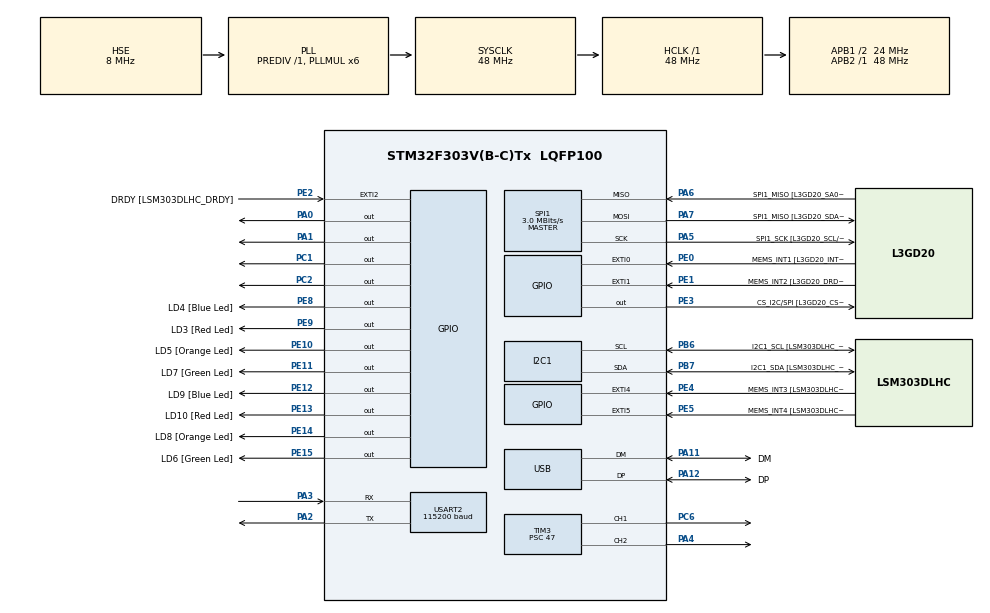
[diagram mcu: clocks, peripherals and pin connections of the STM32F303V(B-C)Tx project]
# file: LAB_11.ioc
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I2C1.Timing=0x00201D2B
I2C1.Timing-I2C=0x2000090E
Mcu.Family=STM32F3
Mcu.Name=STM32F303V(B-C)Tx
Mcu.Package=LQFP100
NVIC.PriorityGroup=NVIC_PRIORITYGROUP_0
NVIC.TIM2_IRQn=true\:0\:0\:false\:false\:true\:true\:true\:true
PA0.Signal=GPIO_Output
PA1.Signal=GPIO_Output
PA11.GPIO_Label=DM
PA11.Mode=Device
PA11.Signal=USB_DM
PA12.GPIO_Label=DP
PA12.Mode=Device
PA12.Signal=USB_DP
PA13.GPIO_Label=SWDIO
PA13.Mode=Serial_Wire
PA13.Signal=SYS_JTMS-SWDIO
PA14.GPIO_Label=SWCLK
PA14.Mode=Serial_Wire
PA14.Signal=SYS_JTCK-SWCLK
PA2.Mode=Asynchronous
PA2.Signal=USART2_TX
PA3.Mode=Asynchronous
PA3.Signal=USART2_RX
PA4.Signal=S_TIM3_CH2
PA5.GPIO_Label=SPI1_SCK [L3GD20_SCL/SPC]
PA5.Mode=Full_Duplex_Master
PA5.Signal=SPI1_SCK
PA6.GPIO_Label=SPI1_MISO [L3GD20_SA0/SDO]
PA6.Mode=Full_Duplex_Master
PA6.Signal=SPI1_MISO
PA7.GPIO_Label=SPI1_MISO [L3GD20_SDA/SDI/SDO]
PA7.Mode=Full_Duplex_Master
PA7.Signal=SPI1_MOSI
PB3.GPIO_Label=SWO
PB3.Signal=SYS_JTDO-TRACESWO
PB6.GPIO_Label=I2C1_SCL [LSM303DLHC_SCL]
PB6.GPIO_Pu=GPIO_PULLUP
PB6.Mode=I2C
PB6.Signal=I2C1_SCL
PB7.GPIO_Label=I2C1_SDA [LSM303DLHC_SDA]
PB7.GPIO_Pu=GPIO_PULLUP
PB7.Mode=I2C
PB7.Signal=I2C1_SDA
PC1.Signal=GPIO_Output
PC14-OSC32_IN.GPIO_Label=OSC32_IN
PC14-OSC32_IN.Signal=RCC_OSC32_IN
PC15-OSC32_OUT.GPIO_Label=OSC32_OUT
PC15-OSC32_OUT.Signal=RCC_OSC32_OUT
PC2.Signal=GPIO_Output
PC6.Signal=S_TIM3_CH1
PE0.GPIO_Label=MEMS_INT1 [L3GD20_INT1]
PE0.GPIO_ModeDefaultEXTI=GPIO_MODE_EVT_RISING
PE0.Signal=GPXTI0
PE1.GPIO_Label=MEMS_INT2 [L3GD20_DRDY/INT2]
PE1.GPIO_ModeDefaultEXTI=GPIO_MODE_EVT_RISING
PE1.Signal=GPXTI1
PE10.GPIO_Label=LD5 [Orange Led]
PE10.Signal=GPIO_Output
PE11.GPIO_Label=LD7 [Green Led]
PE11.Signal=GPIO_Output
PE12.GPIO_Label=LD9 [Blue Led]
PE12.Signal=GPIO_Output
PE13.GPIO_Label=LD10 [Red Led]
PE13.Signal=GPIO_Output
PE14.GPIO_Label=LD8 [Orange Led]
PE14.Signal=GPIO_Output
PE15.GPIO_Label=LD6 [Green Led]
PE15.Signal=GPIO_Output
PE2.GPIO_Label=DRDY [LSM303DLHC_DRDY]
PE2.GPIO_ModeDefaultEXTI=GPIO_MODE_EVT_RISING
PE2.Signal=GPXTI2
PE3.GPIO_Label=CS_I2C/SPI [L3GD20_CS_I2C/SPI]
PE3.Signal=GPIO_Output
PE4.GPIO_Label=MEMS_INT3 [LSM303DLHC_INT1]
PE4.GPIO_ModeDefaultEXTI=GPIO_MODE_EVT_RISING
PE4.Signal=GPXTI4
PE5.GPIO_Label=MEMS_INT4 [LSM303DLHC_INT2]
PE5.GPIO_ModeDefaultEXTI=GPIO_MODE_EVT_RISING
PE5.Signal=GPXTI5
PE8.GPIO_Label=LD4 [Blue Led]
PE8.Signal=GPIO_Output
PE9.GPIO_Label=LD3 [Red Led]
PE9.Signal=GPIO_Output
PF0-OSC_IN.GPIO_Label=OSC_IN
PF0-OSC_IN.Mode=HSE-External-Clock-Source
PF0-OSC_IN.Signal=RCC_OSC_IN
PF1-OSC_OUT.GPIO_Label=OSC_OUT
PF1-OSC_OUT.Signal=RCC_OSC_OUT
ProjectManager.HeapSize=0x200
ProjectManager.StackSize=0x400
ProjectManager.TargetToolchain=CMake
RCC.AHBFreq_Value=48000000
RCC.APB1CLKDivider=RCC_HCLK_DIV2
RCC.APB1Freq_Value=24000000
RCC.APB1TimFreq_Value=48000000
RCC.APB2Freq_Value=48000000
RCC.APB2TimFreq_Value=48000000
RCC.CortexFreq_Value=48000000
RCC.HCLKFreq_Value=48000000
RCC.HSE_VALUE=8000000
RCC.HSI_VALUE=8000000
RCC.LSE_VALUE=32768
RCC.PLLMUL=RCC_PLL_MUL6
RCC.SYSCLKFreq_VALUE=48000000
RCC.SYSCLKSourceVirtual=RCC_SYSCLKSOURCE_PLLCLK
RCC.USBFreq_Value=48000000
SH.S_TIM3_CH1.0=TIM3_CH1,PWM Generation1 CH1
SH.S_TIM3_CH2.0=TIM3_CH2,PWM Generation2 CH2
SPI1.BaudRatePrescaler=SPI_BAUDRATEPRESCALER_16
SPI1.BaudRatePrescaler-Full_Duplex_Master=SPI_BAUDRATEPRESCALER_2
SPI1.CLKPhase=SPI_PHASE_2EDGE
SPI1.CLKPolarity=SPI_POLARITY_HIGH
SPI1.CalculateBaudRate=3.0 MBits/s
SPI1.CalculateBaudRate-Full_Duplex_Master=24.0 MBits/s
SPI1.DataSize=SPI_DATASIZE_8BIT
SPI1.Direction=SPI_DIRECTION_2LINES
SPI1.Mode=SPI_MODE_MASTER
SPI1.Mode-Full_Duplex_Master=SPI_MODE_MASTER
SPI1.VirtualType=VM_MASTER
TIM2.Period=9
TIM2.Prescaler=47999
TIM3.Channel-PWM\ Generation1\ CH1=TIM_CHANNEL_1
TIM3.Channel-PWM\ Generation2\ CH2=TIM_CHANNEL_2
TIM3.Period=999
TIM3.Prescaler=47
USART2.BaudRate=115200
USART2.VirtualMode-Asynchronous=VM_ASYNC
VP_TIM2_VS_ClockSourceINT.Mode=Internal
VP_TIM3_VS_ClockSourceINT.Mode=Internal
board=STM32F3DISCOVERY

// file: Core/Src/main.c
/* USER CODE BEGIN Header */
/**
  **************************
  * @file           : main.c
  * @brief          : Main program body
  **************************
  * @attention
  *
  * Copyright (c) 2025 STMicroelectronics.
  * All rights reserved.
  *
  **************************
  */
/* USER CODE END Header */
#include "main.h"
#include "stdarg.h"
#include "stdio.h"
#include "stm32f3xx_hal.h"
#include "string.h"
#include "stdbool.h"
#include "math.h"

int16_t ax_raw, ay_raw, az_raw;
volatile uint8_t new_data_ready = 0;

#define LSM303AGR_ACC_I2C_ADDR_WRITE 0x32
#define LSM303AGR_ACC_I2C_ADDR_READ 0x33

#define CTRL_REG1_A 0x20
#define CTRL_REG4_A 0x23

#define OUT_X_L_A 0x28

#define I3G4250D_WHO_AM_I 0x0F
#define I3G4250D_CTRL_REG1 0x20
#define I3G4250D_CTRL_REG4 0x23
#define I3G4250D_OUT_X_L 0x28
#define SPI_READ 0x80
#define SPI_AUTO_INC 0x40

float gx_offset = 0, gy_offset = 0, gz_offset = 0;
float gx, gy, gz;
float gx_raw=0, gy_raw=0, gz_raw=0; // store raw readings

float pitch = 0.0f, roll = 0.0f;
float ax_g ;
float ay_g ;
float az_g ;

// --- Convert g → m/s² ---
float ax_ms2 ;
float ay_ms2 ;
float az_ms2 ;

float gx_corrected ;
float gy_corrected ;
float gz_corrected ;

float DT = 0.010f;
#define PRINT_RATE_DIV 10

/* Deadzone for small PID output */
#define MOTOR_DEADZONE 20

/* USER CODE BEGIN PM */
/* Sensor / calibration state */
/* Sensor / calibration state */

/* USER CODE END PM */

I2C_HandleTypeDef hi2c1;

SPI_HandleTypeDef hspi1;

TIM_HandleTypeDef htim2;
TIM_HandleTypeDef htim3;

UART_HandleTypeDef huart2;

PCD_HandleTypeDef hpcd_USB_FS;

/* USER CODE BEGIN PV */

/* Sensor / calibration state */

float angle = 0.0;
/* Gyro temperature / misc */

/* Display flag (set from ISR to schedule UART printing in main loop) */
volatile bool print_flag = false;

/* Internal tick counter used to reduce UART rate */
static volatile uint32_t display_counter = 0;

typedef struct { float set_point; //should be zero
float kp; float ki; float kd; float CoT; float prev_e_t; float integral; }PID;

/* USER CODE END PV */

void SystemClock_Config(void);
static void MX_GPIO_Init(void);
static void MX_I2C1_Init(void);
static void MX_SPI1_Init(void);
static void MX_TIM2_Init(void);
static void MX_TIM3_Init(void);
static void MX_USART2_UART_Init(void);
static void MX_USB_PCD_Init(void);
/* USER CODE BEGIN PFP */

/* --- Helper: formatted UART printing using huart2 --- */
void print_lsm(const char *fmt, ...)
{
    char buffer[200];
    va_list args;
    va_start(args, fmt);
    vsnprintf(buffer, sizeof(buffer), fmt, args);
    va_end(args);
    HAL_UART_Transmit(&huart2, (uint8_t*)buffer, strlen(buffer), HAL_MAX_DELAY);
}

void LSM303AGR_Init(void)
{
uint8_t ctrl1 = 0x67; // ODR=200Hz, all axes enabled
uint8_t ctrl4 = 0x00; // ±2g, high-resolution disabled

HAL_I2C_Mem_Write(&hi2c1, LSM303AGR_ACC_I2C_ADDR_WRITE,
CTRL_REG1_A, 1, &ctrl1, 1, HAL_MAX_DELAY);

HAL_I2C_Mem_Write(&hi2c1, LSM303AGR_ACC_I2C_ADDR_WRITE,
CTRL_REG4_A, 1, &ctrl4, 1, HAL_MAX_DELAY);
}

void LSM303AGR_Read_Accelerometer(int16_t *ax, int16_t *ay, int16_t *az)
{
uint8_t buffer[6];

HAL_I2C_Mem_Read(&hi2c1, LSM303AGR_ACC_I2C_ADDR_READ,
OUT_X_L_A | 0x80, 1, buffer, 6, HAL_MAX_DELAY);

int16_t rawX = (int16_t)((buffer[1] << 8) | buffer[0]);
int16_t rawY = (int16_t)((buffer[3] << 8) | buffer[2]);
int16_t rawZ = (int16_t)((buffer[5] << 8) | buffer[4]);

// Convert 16-bit to 10-bit (datasheet requirement)
*ax = rawX >> 6;
*ay = rawY >> 6;
*az = rawZ >> 6;
}

static void Gyro_CS_Low() {
HAL_GPIO_WritePin(CS_I2C_SPI_GPIO_Port, CS_I2C_SPI_Pin, GPIO_PIN_RESET);
}

static void Gyro_CS_High() {
HAL_GPIO_WritePin(CS_I2C_SPI_GPIO_Port, CS_I2C_SPI_Pin, GPIO_PIN_SET);
}
void I3G4250D_Write(uint8_t reg, uint8_t value)
{
Gyro_CS_Low();

uint8_t data[2] = { reg, value };
HAL_SPI_Transmit(&hspi1, data, 2, HAL_MAX_DELAY);

Gyro_CS_High();
}
void I3G4250D_Read(uint8_t reg, uint8_t *buffer, uint8_t len)
{
Gyro_CS_Low();

uint8_t address = reg | SPI_READ | SPI_AUTO_INC;
HAL_SPI_Transmit(&hspi1, &address, 1, HAL_MAX_DELAY);
HAL_SPI_Receive(&hspi1, buffer, len, HAL_MAX_DELAY);

Gyro_CS_High();
}
void I3G4250D_Init(void)
{
// CTRL_REG1: enable X,Y,Z, set ODR=200 Hz, BW=25Hz
I3G4250D_Write(I3G4250D_CTRL_REG1, 0x8F);
// CTRL_REG4: ±245 dps full scale
I3G4250D_Write(I3G4250D_CTRL_REG4, 0x00);
}
void I3G4250D_Read_Gyro(float *gx, float *gy, float *gz)
{
uint8_t buffer[6];
I3G4250D_Read(I3G4250D_OUT_X_L, buffer, 6);

int16_t rawX = (buffer[1] << 8) | buffer[0];
int16_t rawY = (buffer[3] << 8) | buffer[2];
int16_t rawZ = (buffer[5] << 8) | buffer[4];

*gx = rawX * 0.00875f;
*gy = rawY * 0.00875f;
*gz = rawZ * 0.00875f;

}
void I3G4250D_Calibrate(void)
{
int samples = 100;
float sum_x=0, sum_y=0, sum_z=0;
for(int i=0; i<samples; i++)
{
float gx, gy, gz;
I3G4250D_Read_Gyro(&gx, &gy, &gz);
sum_x += gx;
sum_y += gy;
sum_z += gz;
}
gx_offset = sum_x / samples;
gy_offset = sum_y / samples;
gz_offset = sum_z / samples;
}

void Angleestimate()
{
// Convert raw to g
ax_g = ax_raw * 0.0039f;
ay_g = ay_raw * 0.0039f;
az_g = az_raw * 0.0039f;

// Convert to m/s^2
ax_ms2 = ax_g * 9.80665f;
ay_ms2 = ay_g * 9.80665f;
az_ms2 = az_g * 9.80665f;

// Gyro offsets removed
gx_corrected = gx_raw - gx_offset;
gy_corrected = gy_raw - gy_offset;
gz_corrected = gz_raw - gz_offset;

// --- Your chosen axes ---
float roll_acc = atan2f(-ax_ms2, az_ms2) * 57.2958f;

float roll_gyro = roll + gy_corrected * DT;

// Complementary filter
roll = 0.98f * roll_gyro + 0.02f * roll_acc;
}

float pid_controller (PID *pid, float dt, float PV){ //process variable
    float e_t = pid->set_point - PV; //error
    pid->integral += e_t*dt;

    float d = 0;
    if(dt>0){
    d = pid->kd*((e_t - pid->prev_e_t )/dt);}
    float p = pid->kp * e_t;
    pid->prev_e_t = e_t;
    pid->CoT = p + d + (pid->integral*pid->ki);

    if(pid->CoT > 500)
        pid->CoT = 500;
    else if (pid->CoT < -500)
        pid->CoT = -500;

    return pid->CoT;
}

// void speed(uint16_t s){
//     if (s>999){
//       s=999;
//       __HAL_TIM_SET_COMPARE(&htim3, TIM_CHANNEL_1, 999);
//     }
//     __HAL_TIM_SET_COMPARE(&htim3, TIM_CHANNEL_1, s);
//   }

// void set_direction(uint8_t a){
//     if(a==0){
//       HAL_GPIO_WritePin(GPIOA, GPIO_PIN_0, GPIO_PIN_SET);
//       HAL_GPIO_WritePin(GPIOA, GPIO_PIN_1, GPIO_PIN_RESET);
//     }
//     else{
//       HAL_GPIO_WritePin(GPIOA, GPIO_PIN_1, GPIO_PIN_SET);
//       HAL_GPIO_WritePin(GPIOA, GPIO_PIN_0, GPIO_PIN_RESET);
//     }

//   }

// void speed2(uint16_t s){
//     if (s > 999) s = 999;
//     __HAL_TIM_SET_COMPARE(&htim3, TIM_CHANNEL_2, s);
// }

// void set_direction2(uint8_t a){
//     if(a==0){
//         HAL_GPIO_WritePin(GPIOC, GPIO_PIN_1, GPIO_PIN_SET);
//         HAL_GPIO_WritePin(GPIOC, GPIO_PIN_2, GPIO_PIN_RESET);
//     } else {
//         HAL_GPIO_WritePin(GPIOC, GPIO_PIN_2, GPIO_PIN_SET);
//         HAL_GPIO_WritePin(GPIOC, GPIO_PIN_1, GPIO_PIN_RESET);
//     }
// }

void speed_motor(TIM_HandleTypeDef *htim, uint32_t channel, uint16_t s) {
    if (s > 500) s = 500;
    __HAL_TIM_SET_COMPARE(htim, channel, s);
}
/* USER CODE END PFP */

/* USER CODE BEGIN 0 */

/* TIM ISR: read sensors fast and set flag for printing at a slower rate */
void HAL_TIM_PeriodElapsedCallback(TIM_HandleTypeDef *htim)
{
  if (htim->Instance == TIM2)
  {
    LSM303AGR_Read_Accelerometer(&ax_raw, &ay_raw, &az_raw);
    I3G4250D_Read_Gyro(&gx_raw, &gy_raw, &gz_raw);
    Angleestimate();

    display_counter++;
    if (display_counter >= PRINT_RATE_DIV) {
        display_counter = 0;
        print_flag = true;  // main loop will handle UART print
    }
  }
}

/* USER CODE END 0 */

  int main(void)
{

  /* MCU Configuration--------------------------------------------------------*/

  /* Reset of all peripherals, Initializes the Flash interface and the Systick. */
  HAL_Init();

  /* Configure the system clock */
  SystemClock_Config();

  /* Initialize all configured peripherals */
  MX_GPIO_Init();
  MX_I2C1_Init();
  MX_SPI1_Init();
  MX_TIM2_Init();
  MX_TIM3_Init();
  MX_USART2_UART_Init();
  MX_USB_PCD_Init();
  /* USER CODE BEGIN 2 */

  /* Ensure gyro CS high before init */

  /* Init sensors */
  LSM303AGR_Init();
  I3G4250D_Init();
  I3G4250D_Calibrate();
  /* Start TIM2 interrupt (main sensor loop) */
  HAL_TIM_Base_Start_IT(&htim2);

  /* USER CODE END 2 */

  /* Infinite loop */
  /* USER CODE BEGIN WHILE */
  HAL_TIM_PWM_Start(&htim3, TIM_CHANNEL_1);
    HAL_TIM_PWM_Start(&htim3, TIM_CHANNEL_2);

  // speed(0);
  // set_direction(0);

  HAL_GPIO_WritePin(GPIOA, GPIO_PIN_1, GPIO_PIN_SET);
  HAL_GPIO_WritePin(GPIOA, GPIO_PIN_0, GPIO_PIN_RESET);

  HAL_GPIO_WritePin(GPIOC, GPIO_PIN_1, GPIO_PIN_RESET);
  HAL_GPIO_WritePin(GPIOC, GPIO_PIN_2, GPIO_PIN_SET);
  PID pid = {
    .set_point = 0.0f, //should be zero
    .kp= 19.0f,
    .ki = 0.19f,
    .kd = 0.019f,
    .CoT =0.0f,
    .prev_e_t = 0.0f,
    .integral = 0.0f };
  /* Infinite loop: do printing and any background tasks here */
 while (1) {
  if (print_flag){
  print_lsm("%f\r\n", roll);
   //float dt = 0.01;
   float pid_out = pid_controller(&pid, DT, roll);

  //  if(pid_out > 0) set_direction(0); else set_direction(1);
  //   speed((uint16_t)fabs(pid_out));
     /* other non-time-critical background tasks can go here */
    //HAL_Delay(5); // keep main loop light; this delay doesn't affect ISR timing
  // uint16_t output = (uint16_t)fminf(fabs(pid_out), 500.0f);

if (fabs(pid_out) < MOTOR_DEADZONE)
{
    speed_motor(&htim3, TIM_CHANNEL_1, 0);
    speed_motor(&htim3, TIM_CHANNEL_2, 0);
}
else
{
    // Set direction pins for both motors
    if(pid_out > 0)
    {
        // Backward
        HAL_GPIO_WritePin(GPIOA, GPIO_PIN_0, GPIO_PIN_RESET); // Motor 1
        HAL_GPIO_WritePin(GPIOA, GPIO_PIN_1, GPIO_PIN_SET);

        HAL_GPIO_WritePin(GPIOC, GPIO_PIN_1, GPIO_PIN_RESET); // Motor 2
        HAL_GPIO_WritePin(GPIOC, GPIO_PIN_2, GPIO_PIN_SET);
    }
    else
    {

      // Forward
        HAL_GPIO_WritePin(GPIOA, GPIO_PIN_0, GPIO_PIN_SET);   // Motor 1
        HAL_GPIO_WritePin(GPIOA, GPIO_PIN_1, GPIO_PIN_RESET);

        HAL_GPIO_WritePin(GPIOC, GPIO_PIN_1, GPIO_PIN_SET);   // Motor 2
        HAL_GPIO_WritePin(GPIOC, GPIO_PIN_2, GPIO_PIN_RESET);

    }

    // Set PWM for both motors
    uint16_t pwm_val = (uint16_t)fminf(fabs(pid_out), 500.0f);
    speed_motor(&htim3, TIM_CHANNEL_1, pwm_val);
    speed_motor(&htim3, TIM_CHANNEL_2, pwm_val);
}
    print_flag = false;

    } }}

void SystemClock_Config(void)
{
  RCC_OscInitTypeDef RCC_OscInitStruct = {0};
  RCC_ClkInitTypeDef RCC_ClkInitStruct = {0};
  RCC_PeriphCLKInitTypeDef PeriphClkInit = {0};

  /** Initializes the RCC Oscillators according to the specified parameters
  * in the RCC_OscInitTypeDef structure.
  */
  RCC_OscInitStruct.OscillatorType = RCC_OSCILLATORTYPE_HSI|RCC_OSCILLATORTYPE_HSE;
  RCC_OscInitStruct.HSEState = RCC_HSE_BYPASS;
  RCC_OscInitStruct.HSEPredivValue = RCC_HSE_PREDIV_DIV1;
  RCC_OscInitStruct.HSIState = RCC_HSI_ON;
  RCC_OscInitStruct.HSICalibrationValue = RCC_HSICALIBRATION_DEFAULT;
  RCC_OscInitStruct.PLL.PLLState = RCC_PLL_ON;
  RCC_OscInitStruct.PLL.PLLSource = RCC_PLLSOURCE_HSE;
  RCC_OscInitStruct.PLL.PLLMUL = RCC_PLL_MUL6;
  if (HAL_RCC_OscConfig(&RCC_OscInitStruct) != HAL_OK)
  {
    Error_Handler();
  }

  /** Initializes the CPU, AHB and APB buses clocks
  */
  RCC_ClkInitStruct.ClockType = RCC_CLOCKTYPE_HCLK|RCC_CLOCKTYPE_SYSCLK
                              |RCC_CLOCKTYPE_PCLK1|RCC_CLOCKTYPE_PCLK2;
  RCC_ClkInitStruct.SYSCLKSource = RCC_SYSCLKSOURCE_PLLCLK;
  RCC_ClkInitStruct.AHBCLKDivider = RCC_SYSCLK_DIV1;
  RCC_ClkInitStruct.APB1CLKDivider = RCC_HCLK_DIV2;
  RCC_ClkInitStruct.APB2CLKDivider = RCC_HCLK_DIV1;

  if (HAL_RCC_ClockConfig(&RCC_ClkInitStruct, FLASH_LATENCY_1) != HAL_OK)
  {
    Error_Handler();
  }
  PeriphClkInit.PeriphClockSelection = RCC_PERIPHCLK_USB|RCC_PERIPHCLK_USART2
                              |RCC_PERIPHCLK_I2C1;
  PeriphClkInit.Usart2ClockSelection = RCC_USART2CLKSOURCE_PCLK1;
  PeriphClkInit.I2c1ClockSelection = RCC_I2C1CLKSOURCE_HSI;
  PeriphClkInit.USBClockSelection = RCC_USBCLKSOURCE_PLL;
  if (HAL_RCCEx_PeriphCLKConfig(&PeriphClkInit) != HAL_OK)
  {
    Error_Handler();
  }
}

static void MX_I2C1_Init(void)
{

  hi2c1.Instance = I2C1;
  hi2c1.Init.Timing = 0x00201D2B;
  hi2c1.Init.OwnAddress1 = 0;
  hi2c1.Init.AddressingMode = I2C_ADDRESSINGMODE_7BIT;
  hi2c1.Init.DualAddressMode = I2C_DUALADDRESS_DISABLE;
  hi2c1.Init.OwnAddress2 = 0;
  hi2c1.Init.OwnAddress2Masks = I2C_OA2_NOMASK;
  hi2c1.Init.GeneralCallMode = I2C_GENERALCALL_DISABLE;
  hi2c1.Init.NoStretchMode = I2C_NOSTRETCH_DISABLE;
  if (HAL_I2C_Init(&hi2c1) != HAL_OK)
  {
    Error_Handler();
  }

  /** Configure Analogue filter
  */
  if (HAL_I2CEx_ConfigAnalogFilter(&hi2c1, I2C_ANALOGFILTER_ENABLE) != HAL_OK)
  {
    Error_Handler();
  }

  /** Configure Digital filter
  */
  if (HAL_I2CEx_ConfigDigitalFilter(&hi2c1, 0) != HAL_OK)
  {
    Error_Handler();
  }

}

static void MX_SPI1_Init(void)
{

  /* SPI1 parameter configuration*/
  hspi1.Instance = SPI1;
  hspi1.Init.Mode = SPI_MODE_MASTER;
  hspi1.Init.Direction = SPI_DIRECTION_2LINES;
  hspi1.Init.DataSize = SPI_DATASIZE_8BIT;
  hspi1.Init.CLKPolarity = SPI_POLARITY_HIGH;
  hspi1.Init.CLKPhase = SPI_PHASE_2EDGE;
  hspi1.Init.NSS = SPI_NSS_SOFT;
  hspi1.Init.BaudRatePrescaler = SPI_BAUDRATEPRESCALER_16;
  hspi1.Init.FirstBit = SPI_FIRSTBIT_MSB;
  hspi1.Init.TIMode = SPI_TIMODE_DISABLE;
  hspi1.Init.CRCCalculation = SPI_CRCCALCULATION_DISABLE;
  hspi1.Init.CRCPolynomial = 7;
  hspi1.Init.CRCLength = SPI_CRC_LENGTH_DATASIZE;
  hspi1.Init.NSSPMode = SPI_NSS_PULSE_DISABLE;
  if (HAL_SPI_Init(&hspi1) != HAL_OK)
  {
    Error_Handler();
  }

}

static void MX_TIM2_Init(void)
{

  TIM_ClockConfigTypeDef sClockSourceConfig = {0};
  TIM_MasterConfigTypeDef sMasterConfig = {0};

  htim2.Instance = TIM2;
  htim2.Init.Prescaler = 7199;
  htim2.Init.CounterMode = TIM_COUNTERMODE_UP;
  htim2.Init.Period = 99;
  htim2.Init.ClockDivision = TIM_CLOCKDIVISION_DIV1;
  htim2.Init.AutoReloadPreload = TIM_AUTORELOAD_PRELOAD_DISABLE;
  if (HAL_TIM_Base_Init(&htim2) != HAL_OK)
  {
    Error_Handler();
  }
  sClockSourceConfig.ClockSource = TIM_CLOCKSOURCE_INTERNAL;
  if (HAL_TIM_ConfigClockSource(&htim2, &sClockSourceConfig) != HAL_OK)
  {
    Error_Handler();
  }
  sMasterConfig.MasterOutputTrigger = TIM_TRGO_RESET;
  sMasterConfig.MasterSlaveMode = TIM_MASTERSLAVEMODE_DISABLE;
  if (HAL_TIMEx_MasterConfigSynchronization(&htim2, &sMasterConfig) != HAL_OK)
  {
    Error_Handler();
  }

}

static void MX_TIM3_Init(void)
{

  TIM_ClockConfigTypeDef sClockSourceConfig = {0};
  TIM_MasterConfigTypeDef sMasterConfig = {0};
  TIM_OC_InitTypeDef sConfigOC = {0};

  htim3.Instance = TIM3;
  htim3.Init.Prescaler = 0;
  htim3.Init.CounterMode = TIM_COUNTERMODE_UP;
  htim3.Init.Period = 999;
  htim3.Init.ClockDivision = TIM_CLOCKDIVISION_DIV1;
  htim3.Init.AutoReloadPreload = TIM_AUTORELOAD_PRELOAD_DISABLE;
  if (HAL_TIM_Base_Init(&htim3) != HAL_OK)
  {
    Error_Handler();
  }
  sClockSourceConfig.ClockSource = TIM_CLOCKSOURCE_INTERNAL;
  if (HAL_TIM_ConfigClockSource(&htim3, &sClockSourceConfig) != HAL_OK)
  {
    Error_Handler();
  }
  if (HAL_TIM_PWM_Init(&htim3) != HAL_OK)
  {
    Error_Handler();
  }
  sMasterConfig.MasterOutputTrigger = TIM_TRGO_RESET;
  sMasterConfig.MasterSlaveMode = TIM_MASTERSLAVEMODE_DISABLE;
  if (HAL_TIMEx_MasterConfigSynchronization(&htim3, &sMasterConfig) != HAL_OK)
  {
    Error_Handler();
  }
  sConfigOC.OCMode = TIM_OCMODE_PWM1;
  sConfigOC.Pulse = 0;
  sConfigOC.OCPolarity = TIM_OCPOLARITY_HIGH;
  sConfigOC.OCFastMode = TIM_OCFAST_DISABLE;
  if (HAL_TIM_PWM_ConfigChannel(&htim3, &sConfigOC, TIM_CHANNEL_1) != HAL_OK)
  {
    Error_Handler();
  }
  if (HAL_TIM_PWM_ConfigChannel(&htim3, &sConfigOC, TIM_CHANNEL_2) != HAL_OK)
  {
    Error_Handler();
  }
  HAL_TIM_MspPostInit(&htim3);

}

static void MX_USART2_UART_Init(void)
{

  huart2.Instance = USART2;
  huart2.Init.BaudRate = 115200;
  huart2.Init.WordLength = UART_WORDLENGTH_8B;
  huart2.Init.StopBits = UART_STOPBITS_1;
  huart2.Init.Parity = UART_PARITY_NONE;
  huart2.Init.Mode = UART_MODE_TX_RX;
  huart2.Init.HwFlowCtl = UART_HWCONTROL_NONE;
  huart2.Init.OverSampling = UART_OVERSAMPLING_16;
  huart2.Init.OneBitSampling = UART_ONE_BIT_SAMPLE_DISABLE;
  huart2.AdvancedInit.AdvFeatureInit = UART_ADVFEATURE_NO_INIT;
  if (HAL_UART_Init(&huart2) != HAL_OK)
  {
    Error_Handler();
  }

}

static void MX_USB_PCD_Init(void)
{

  hpcd_USB_FS.Instance = USB;
  hpcd_USB_FS.Init.dev_endpoints = 8;
  hpcd_USB_FS.Init.speed = PCD_SPEED_FULL;
  hpcd_USB_FS.Init.phy_itface = PCD_PHY_EMBEDDED;
  hpcd_USB_FS.Init.low_power_enable = DISABLE;
  hpcd_USB_FS.Init.battery_charging_enable = DISABLE;
  if (HAL_PCD_Init(&hpcd_USB_FS) != HAL_OK)
  {
    Error_Handler();
  }

}

static void MX_GPIO_Init(void)
{
  GPIO_InitTypeDef GPIO_InitStruct = {0};

  /* GPIO Ports Clock Enable */
  __HAL_RCC_GPIOE_CLK_ENABLE();
  __HAL_RCC_GPIOC_CLK_ENABLE();
  __HAL_RCC_GPIOF_CLK_ENABLE();
  __HAL_RCC_GPIOA_CLK_ENABLE();
  __HAL_RCC_GPIOB_CLK_ENABLE();

  /*Configure GPIO pin Output Level */
  HAL_GPIO_WritePin(GPIOE, CS_I2C_SPI_Pin|LD4_Pin|LD3_Pin|LD5_Pin
                          |LD7_Pin|LD9_Pin|LD10_Pin|LD8_Pin
                          |LD6_Pin, GPIO_PIN_RESET);

  /*Configure GPIO pin Output Level */
  HAL_GPIO_WritePin(GPIOC, GPIO_PIN_1|GPIO_PIN_2, GPIO_PIN_RESET);

  /*Configure GPIO pin Output Level */
  HAL_GPIO_WritePin(GPIOA, GPIO_PIN_0|GPIO_PIN_1, GPIO_PIN_RESET);

  /*Configure GPIO pins : DRDY_Pin MEMS_INT3_Pin MEMS_INT4_Pin MEMS_INT1_Pin
                           MEMS_INT2_Pin */
  GPIO_InitStruct.Pin = DRDY_Pin|MEMS_INT3_Pin|MEMS_INT4_Pin|MEMS_INT1_Pin
                          |MEMS_INT2_Pin;
  GPIO_InitStruct.Mode = GPIO_MODE_EVT_RISING;
  GPIO_InitStruct.Pull = GPIO_NOPULL;
  HAL_GPIO_Init(GPIOE, &GPIO_InitStruct);

  /*Configure GPIO pins : CS_I2C_SPI_Pin LD4_Pin LD3_Pin LD5_Pin
                           LD7_Pin LD9_Pin LD10_Pin LD8_Pin
                           LD6_Pin */
  GPIO_InitStruct.Pin = CS_I2C_SPI_Pin|LD4_Pin|LD3_Pin|LD5_Pin
                          |LD7_Pin|LD9_Pin|LD10_Pin|LD8_Pin
                          |LD6_Pin;
  GPIO_InitStruct.Mode = GPIO_MODE_OUTPUT_PP;
  GPIO_InitStruct.Pull = GPIO_NOPULL;
  GPIO_InitStruct.Speed = GPIO_SPEED_FREQ_LOW;
  HAL_GPIO_Init(GPIOE, &GPIO_InitStruct);

  /*Configure GPIO pins : PC1 PC2 */
  GPIO_InitStruct.Pin = GPIO_PIN_1|GPIO_PIN_2;
  GPIO_InitStruct.Mode = GPIO_MODE_OUTPUT_PP;
  GPIO_InitStruct.Pull = GPIO_NOPULL;
  GPIO_InitStruct.Speed = GPIO_SPEED_FREQ_LOW;
  HAL_GPIO_Init(GPIOC, &GPIO_InitStruct);

  /*Configure GPIO pins : PA0 PA1 */
  GPIO_InitStruct.Pin = GPIO_PIN_0|GPIO_PIN_1;
  GPIO_InitStruct.Mode = GPIO_MODE_OUTPUT_PP;
  GPIO_InitStruct.Pull = GPIO_NOPULL;
  GPIO_InitStruct.Speed = GPIO_SPEED_FREQ_LOW;
  HAL_GPIO_Init(GPIOA, &GPIO_InitStruct);

}

void Error_Handler(void)
{
  __disable_irq();
  while (1)
  {
  }
}
